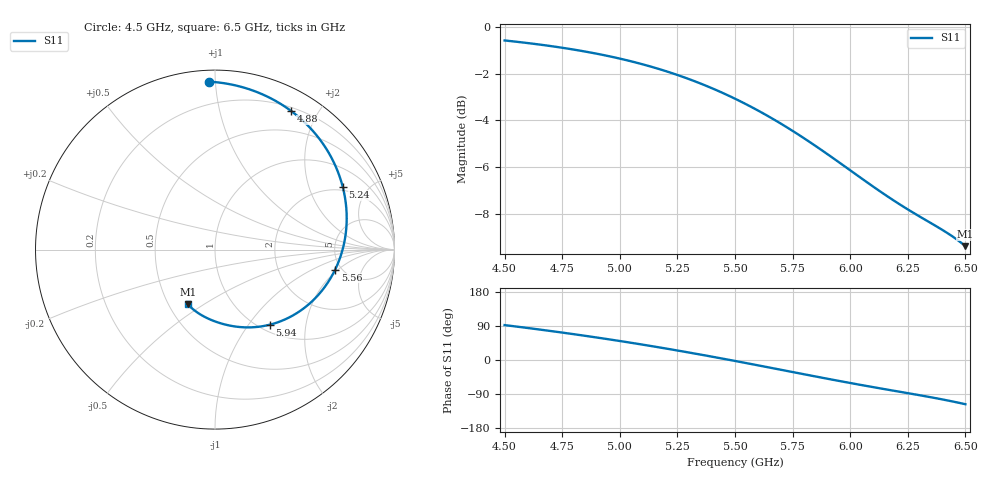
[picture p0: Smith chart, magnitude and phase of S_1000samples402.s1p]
! TOUCHSTONE file generated by CST MICROWAVE STUDIO
! Date and time: Fri Oct 28 01:19:05 2022
! Project name: L.cst
! Parameters = {Di=1.27; Epsilon_r=1.56; InnerDiameter=1.27; Length=2; Lf=10; Lg=60; OuterConductorThickness=0.2921; OuterDiameter=3.6; Wf=3; Wp=41.2; de=1.5; df=6.8; g=0.8; gx=2.61046; gy=4.18542; h=2.34; hf=1.524; px=12.1844; py=13.1059; w=9.7; wx=9.57393; wy=8.92047}
! Header version: 2018
! Port assignment regex: !\s*Touchstone port\s*([0-9]+)\s*=\s*(CST MWS port|CST DS port)\s*([0-9]+|Zmin|Zmax)\s*\(\"(.*)\"\)(\s*mode\s*([0-9]+))?.*
! Touchstone port assignment:
! Touchstone port 1 = CST MWS port 1 ("")
# GHz S DB R 50
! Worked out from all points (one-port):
!   101 points, 4.5 GHz to 6.5 GHz, reference 50 ohm
!   lowest |S11| = -9.4 dB at 6.5 GHz (marker M1), VSWR 2.03, Z = 31.2 - j21.3 ohm
!   |S11| at or under -10 dB: nowhere
!   S11 on the Smith chart (normalised r, x): 4.5 GHz: 0.06, +0.96; 4.88 GHz: 0.24, +1.67; 5.24 GHz: 1.81, +3.41; 5.56 GHz: 4.43, -1.83; 5.94 GHz: 1.11, -1.27; 6.5 GHz: 0.62, -0.43
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4.5  -0.57 92.1
4.58  -0.66 86.0
4.64  -0.73 81.3
4.7  -0.81 76.5
4.76  -0.90 71.5
4.82  -1.00 66.4
4.88  -1.10 61.1
4.94  -1.22 55.7
5  -1.35 50.1
5.06  -1.49 44.4
5.12  -1.65 38.4
5.18  -1.82 32.4
5.24  -2.02 26.1
5.26  -2.08 24.0
5.32  -2.30 17.6
5.38  -2.54 11.0
5.44  -2.79 4.3
5.5  -3.07 -2.5
5.56  -3.37 -9.5
5.66  -3.91 -21.2
5.76  -4.51 -33.0
5.84  -5.03 -42.3
5.94  -5.72 -53.9
6  -6.14 -60.7
6.12  -6.98 -73.8
6.26  -7.88 -88.6
6.4  -8.69 -104.0
6.5  -9.39 -116.7
